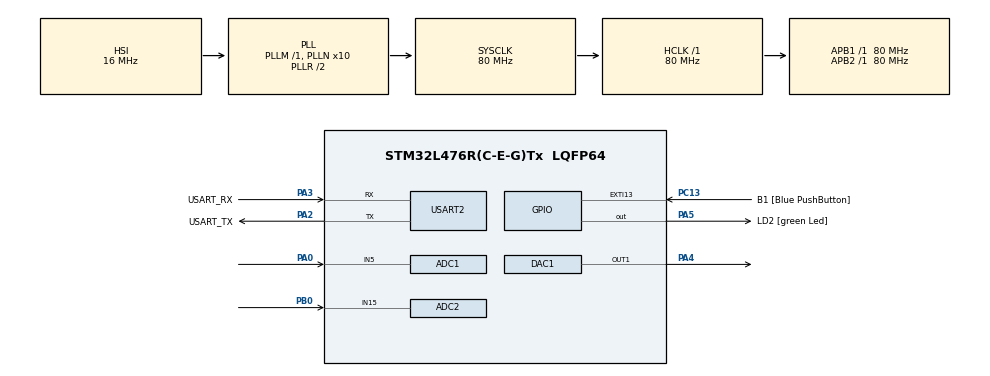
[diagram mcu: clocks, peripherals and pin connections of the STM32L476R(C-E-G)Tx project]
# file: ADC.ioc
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ADC1.Channel-0\#ChannelRegularConversion=ADC_CHANNEL_5
ADC1.NbrOfConversionFlag=1
ADC1.OffsetNumber-0\#ChannelRegularConversion=ADC_OFFSET_NONE
ADC1.Rank-0\#ChannelRegularConversion=1
ADC1.SamplingTime-0\#ChannelRegularConversion=ADC_SAMPLETIME_2CYCLES_5
ADC1.master=1
ADC2.Channel-0\#ChannelRegularConversion=ADC_CHANNEL_15
ADC2.NbrOfConversionFlag=1
ADC2.OffsetNumber-0\#ChannelRegularConversion=ADC_OFFSET_NONE
ADC2.Rank-0\#ChannelRegularConversion=1
ADC2.SamplingTime-0\#ChannelRegularConversion=ADC_SAMPLETIME_2CYCLES_5
Mcu.Family=STM32L4
Mcu.Name=STM32L476R(C-E-G)Tx
Mcu.Package=LQFP64
NVIC.PriorityGroup=NVIC_PRIORITYGROUP_4
PA0.Signal=ADCx_IN5
PA13\ (JTMS-SWDIO).GPIO_Label=TMS
PA13\ (JTMS-SWDIO).Mode=Serial_Wire
PA13\ (JTMS-SWDIO).Signal=SYS_JTMS-SWDIO
PA14\ (JTCK-SWCLK).GPIO_Label=TCK
PA14\ (JTCK-SWCLK).Mode=Serial_Wire
PA14\ (JTCK-SWCLK).Signal=SYS_JTCK-SWCLK
PA2.GPIO_Label=USART_TX
PA2.GPIO_Mode=GPIO_MODE_AF_PP
PA2.GPIO_PuPd=GPIO_NOPULL
PA2.GPIO_Speed=GPIO_SPEED_FREQ_VERY_HIGH
PA2.Mode=Asynchronous
PA2.Signal=USART2_TX
PA3.GPIO_Label=USART_RX
PA3.GPIO_Mode=GPIO_MODE_AF_PP
PA3.GPIO_PuPd=GPIO_NOPULL
PA3.GPIO_Speed=GPIO_SPEED_FREQ_VERY_HIGH
PA3.Mode=Asynchronous
PA3.Signal=USART2_RX
PA4.Signal=COMP_DAC11_group
PA5.GPIO_Label=LD2 [green Led]
PA5.GPIO_ModeDefaultOutputPP=GPIO_MODE_OUTPUT_PP
PA5.GPIO_PuPd=GPIO_NOPULL
PA5.GPIO_Speed=GPIO_SPEED_FREQ_LOW
PA5.Signal=GPIO_Output
PB0.Signal=ADCx_IN15
PB3\ (JTDO-TRACESWO).GPIO_Label=SWO
PB3\ (JTDO-TRACESWO).Signal=SYS_JTDO-SWO
PC13.GPIO_Label=B1 [Blue PushButton]
PC13.GPIO_ModeDefaultEXTI=GPIO_MODE_IT_FALLING
PC13.GPIO_PuPd=GPIO_NOPULL
PC13.Signal=GPXTI13
PC14-OSC32_IN\ (PC14).Mode=LSE-External-Oscillator
PC14-OSC32_IN\ (PC14).Signal=RCC_OSC32_IN
PC15-OSC32_OUT\ (PC15).Mode=LSE-External-Oscillator
PC15-OSC32_OUT\ (PC15).Signal=RCC_OSC32_OUT
PH0-OSC_IN\ (PH0).Signal=RCC_OSC_IN
PH1-OSC_OUT\ (PH1).Signal=RCC_OSC_OUT
ProjectManager.HeapSize=0x200
ProjectManager.StackSize=0x400
ProjectManager.TargetToolchain=SW4STM32
RCC.ADCFreq_Value=64000000
RCC.AHBFreq_Value=80000000
RCC.APB1Freq_Value=80000000
RCC.APB1TimFreq_Value=80000000
RCC.APB2Freq_Value=80000000
RCC.APB2TimFreq_Value=80000000
RCC.CortexFreq_Value=80000000
RCC.HCLKFreq_Value=80000000
RCC.HSE_VALUE=8000000
RCC.HSI_VALUE=16000000
RCC.MSI_VALUE=4000000
RCC.PLLN=10
RCC.PLLSourceVirtual=RCC_PLLSOURCE_HSI
RCC.PREFETCH_ENABLE=1
RCC.SYSCLKFreq_VALUE=80000000
RCC.SYSCLKSource=RCC_SYSCLKSOURCE_PLLCLK
RCC.USBFreq_Value=64000000
RCC.VCOOutputFreq_Value=160000000
SH.ADCx_IN15.0=ADC2_IN15,IN15-Single-Ended
SH.ADCx_IN5.0=ADC1_IN5,IN5-Single-Ended
SH.COMP_DAC11_group.0=DAC1_OUT1,DAC_OUT1
USART2.VirtualMode-Asynchronous=VM_ASYNC
board=NUCLEO-L476RG

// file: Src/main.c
/* USER CODE BEGIN Header */
/**
  ******************************************************************************
  * @file           : main.c
  * @brief          : Main program body
  ******************************************************************************
  * @attention
  *
  * <h2><center>&copy; Copyright (c) 2020 STMicroelectronics.
  * All rights reserved.</center></h2>
  *
  * This software component is licensed by ST under BSD 3-Clause license,
  * the "License"; You may not use this file except in compliance with the
  * License. You may obtain a copy of the License at:
  *                        opensource.org/licenses/BSD-3-Clause
  *
  ******************************************************************************
  */
/* USER CODE END Header */

#include "main.h"

/* USER CODE BEGIN Includes */
#include <stdio.h>
#include <string.h>
/* USER CODE END Includes */

/* USER CODE BEGIN PM */
#define Imax 40
/* USER CODE END PM */

ADC_HandleTypeDef hadc1;
ADC_HandleTypeDef hadc2;

DAC_HandleTypeDef hdac1;

UART_HandleTypeDef huart2;

void SystemClock_Config(void);
static void MX_GPIO_Init(void);
static void MX_ADC1_Init(void);
static void MX_ADC2_Init(void);
static void MX_DAC1_Init(void);
static void MX_USART2_UART_Init(void);

int main(void)
{

  /* MCU Configuration--------------------------------------------------------*/

  /* Reset of all peripherals, Initializes the Flash interface and the Systick. */
  HAL_Init();

  /* USER CODE BEGIN Init */
  char textToWrite[12];
void clearBuffer(){
	for(int i=0; i<12; i++){
		textToWrite[i] = "";
	}

}
  /* USER CODE END Init */

  /* Configure the system clock */
  SystemClock_Config();

  /* Initialize all configured peripherals */
  MX_GPIO_Init();
  MX_ADC1_Init();
  MX_ADC2_Init();
  MX_DAC1_Init();
  MX_USART2_UART_Init();
  /* USER CODE BEGIN 2 */
  uint8_t len;
  uint8_t start=0;
  uint16_t dac_value = 870;//about 0.7V
  uint16_t adc[2];
  HAL_GPIO_WritePin(LD2_GPIO_Port, LD2_Pin, GPIO_PIN_SET);
  /* USER CODE END 2 */

  /* Infinite loop */
  /* USER CODE BEGIN WHILE */
  while (1)
  {
	  //waiting for 'S' to send PC -> MCU at the beginning
	  while(start!=83) HAL_UART_Receive(&huart2,&start,1,HAL_MAX_DELAY);

	  //setting value on DAC and ON LED as visual pointer
	  HAL_GPIO_WritePin(LD2_GPIO_Port, LD2_Pin, GPIO_PIN_RESET);
	  HAL_DAC_Start(&hdac1, DAC_CHANNEL_1);
	  while(1){
	  HAL_DAC_SetValue(&hdac1, DAC1_CHANNEL_1, DAC_ALIGN_12B_R, dac_value);
	  //HAL_Delay(50);

	  //taking samples from ADC
	  HAL_ADC_Start(&hadc1);
	  HAL_ADC_Start(&hadc2);
	  HAL_ADC_PollForConversion(&hadc1,1000);
	  HAL_ADC_PollForConversion(&hadc2,1000);
	  adc[0] = HAL_ADC_GetValue(&hadc1);
	  adc[1] = HAL_ADC_GetValue(&hadc2);

	  //sending data through UART to PC
	  clearBuffer();
	  len = sprintf(textToWrite, "%u\n", adc[0]);
	  HAL_UART_Transmit(&huart2, textToWrite, len,1000);
	  clearBuffer();
	  len = sprintf(textToWrite, "%u\n", adc[1]);
	  HAL_UART_Transmit(&huart2, textToWrite, len,1000);

	  //if diode reach current limit or max DAC value -> stop incrementing DAC
	  if((adc[0] > (Imax*12)) || (dac_value == 4095))break;
	  dac_value++;
	  }
	  //turn off ADC, DAC, setting default variable value
	  HAL_DAC_Stop(&hdac1, DAC_CHANNEL_1);
	  HAL_ADC_Stop(&hadc1);
	  HAL_ADC_Stop(&hadc2);
	  dac_value = 870;
	  start=0;
	  //sending stop to show end of transmission
	  clearBuffer();
	  len = sprintf(textToWrite,"stop");
	  HAL_UART_Transmit(&huart2, textToWrite, len, 1000);
	  HAL_GPIO_WritePin(LD2_GPIO_Port, LD2_Pin, GPIO_PIN_SET);

    /* USER CODE END WHILE */

  }
}

void SystemClock_Config(void)
{
  RCC_OscInitTypeDef RCC_OscInitStruct = {0};
  RCC_ClkInitTypeDef RCC_ClkInitStruct = {0};
  RCC_PeriphCLKInitTypeDef PeriphClkInit = {0};

  /** Initializes the CPU, AHB and APB busses clocks
  */
  RCC_OscInitStruct.OscillatorType = RCC_OSCILLATORTYPE_HSI;
  RCC_OscInitStruct.HSIState = RCC_HSI_ON;
  RCC_OscInitStruct.HSICalibrationValue = RCC_HSICALIBRATION_DEFAULT;
  RCC_OscInitStruct.PLL.PLLState = RCC_PLL_ON;
  RCC_OscInitStruct.PLL.PLLSource = RCC_PLLSOURCE_HSI;
  RCC_OscInitStruct.PLL.PLLM = 1;
  RCC_OscInitStruct.PLL.PLLN = 10;
  RCC_OscInitStruct.PLL.PLLP = RCC_PLLP_DIV7;
  RCC_OscInitStruct.PLL.PLLQ = RCC_PLLQ_DIV2;
  RCC_OscInitStruct.PLL.PLLR = RCC_PLLR_DIV2;
  if (HAL_RCC_OscConfig(&RCC_OscInitStruct) != HAL_OK)
  {
    Error_Handler();
  }
  /** Initializes the CPU, AHB and APB busses clocks
  */
  RCC_ClkInitStruct.ClockType = RCC_CLOCKTYPE_HCLK|RCC_CLOCKTYPE_SYSCLK
                              |RCC_CLOCKTYPE_PCLK1|RCC_CLOCKTYPE_PCLK2;
  RCC_ClkInitStruct.SYSCLKSource = RCC_SYSCLKSOURCE_PLLCLK;
  RCC_ClkInitStruct.AHBCLKDivider = RCC_SYSCLK_DIV1;
  RCC_ClkInitStruct.APB1CLKDivider = RCC_HCLK_DIV1;
  RCC_ClkInitStruct.APB2CLKDivider = RCC_HCLK_DIV1;

  if (HAL_RCC_ClockConfig(&RCC_ClkInitStruct, FLASH_LATENCY_4) != HAL_OK)
  {
    Error_Handler();
  }
  PeriphClkInit.PeriphClockSelection = RCC_PERIPHCLK_USART2|RCC_PERIPHCLK_ADC;
  PeriphClkInit.Usart2ClockSelection = RCC_USART2CLKSOURCE_PCLK1;
  PeriphClkInit.AdcClockSelection = RCC_ADCCLKSOURCE_PLLSAI1;
  PeriphClkInit.PLLSAI1.PLLSAI1Source = RCC_PLLSOURCE_HSI;
  PeriphClkInit.PLLSAI1.PLLSAI1M = 1;
  PeriphClkInit.PLLSAI1.PLLSAI1N = 8;
  PeriphClkInit.PLLSAI1.PLLSAI1P = RCC_PLLP_DIV7;
  PeriphClkInit.PLLSAI1.PLLSAI1Q = RCC_PLLQ_DIV2;
  PeriphClkInit.PLLSAI1.PLLSAI1R = RCC_PLLR_DIV2;
  PeriphClkInit.PLLSAI1.PLLSAI1ClockOut = RCC_PLLSAI1_ADC1CLK;
  if (HAL_RCCEx_PeriphCLKConfig(&PeriphClkInit) != HAL_OK)
  {
    Error_Handler();
  }
  /** Configure the main internal regulator output voltage
  */
  if (HAL_PWREx_ControlVoltageScaling(PWR_REGULATOR_VOLTAGE_SCALE1) != HAL_OK)
  {
    Error_Handler();
  }
}

static void MX_ADC1_Init(void)
{

  ADC_MultiModeTypeDef multimode = {0};
  ADC_ChannelConfTypeDef sConfig = {0};

  /** Common config
  */
  hadc1.Instance = ADC1;
  hadc1.Init.ClockPrescaler = ADC_CLOCK_ASYNC_DIV1;
  hadc1.Init.Resolution = ADC_RESOLUTION_12B;
  hadc1.Init.DataAlign = ADC_DATAALIGN_RIGHT;
  hadc1.Init.ScanConvMode = ADC_SCAN_DISABLE;
  hadc1.Init.EOCSelection = ADC_EOC_SINGLE_CONV;
  hadc1.Init.LowPowerAutoWait = DISABLE;
  hadc1.Init.ContinuousConvMode = DISABLE;
  hadc1.Init.NbrOfConversion = 1;
  hadc1.Init.DiscontinuousConvMode = DISABLE;
  hadc1.Init.ExternalTrigConv = ADC_SOFTWARE_START;
  hadc1.Init.ExternalTrigConvEdge = ADC_EXTERNALTRIGCONVEDGE_NONE;
  hadc1.Init.DMAContinuousRequests = DISABLE;
  hadc1.Init.Overrun = ADC_OVR_DATA_PRESERVED;
  hadc1.Init.OversamplingMode = DISABLE;
  if (HAL_ADC_Init(&hadc1) != HAL_OK)
  {
    Error_Handler();
  }
  /** Configure the ADC multi-mode
  */
  multimode.Mode = ADC_MODE_INDEPENDENT;
  if (HAL_ADCEx_MultiModeConfigChannel(&hadc1, &multimode) != HAL_OK)
  {
    Error_Handler();
  }
  /** Configure Regular Channel
  */
  sConfig.Channel = ADC_CHANNEL_5;
  sConfig.Rank = ADC_REGULAR_RANK_1;
  sConfig.SamplingTime = ADC_SAMPLETIME_2CYCLES_5;
  sConfig.SingleDiff = ADC_SINGLE_ENDED;
  sConfig.OffsetNumber = ADC_OFFSET_NONE;
  sConfig.Offset = 0;
  if (HAL_ADC_ConfigChannel(&hadc1, &sConfig) != HAL_OK)
  {
    Error_Handler();
  }

}

static void MX_ADC2_Init(void)
{

  ADC_ChannelConfTypeDef sConfig = {0};

  /** Common config
  */
  hadc2.Instance = ADC2;
  hadc2.Init.ClockPrescaler = ADC_CLOCK_ASYNC_DIV1;
  hadc2.Init.Resolution = ADC_RESOLUTION_12B;
  hadc2.Init.DataAlign = ADC_DATAALIGN_RIGHT;
  hadc2.Init.ScanConvMode = ADC_SCAN_DISABLE;
  hadc2.Init.EOCSelection = ADC_EOC_SINGLE_CONV;
  hadc2.Init.LowPowerAutoWait = DISABLE;
  hadc2.Init.ContinuousConvMode = DISABLE;
  hadc2.Init.NbrOfConversion = 1;
  hadc2.Init.DiscontinuousConvMode = DISABLE;
  hadc2.Init.ExternalTrigConv = ADC_SOFTWARE_START;
  hadc2.Init.ExternalTrigConvEdge = ADC_EXTERNALTRIGCONVEDGE_NONE;
  hadc2.Init.DMAContinuousRequests = DISABLE;
  hadc2.Init.Overrun = ADC_OVR_DATA_PRESERVED;
  hadc2.Init.OversamplingMode = DISABLE;
  if (HAL_ADC_Init(&hadc2) != HAL_OK)
  {
    Error_Handler();
  }
  /** Configure Regular Channel
  */
  sConfig.Channel = ADC_CHANNEL_15;
  sConfig.Rank = ADC_REGULAR_RANK_1;
  sConfig.SamplingTime = ADC_SAMPLETIME_2CYCLES_5;
  sConfig.SingleDiff = ADC_SINGLE_ENDED;
  sConfig.OffsetNumber = ADC_OFFSET_NONE;
  sConfig.Offset = 0;
  if (HAL_ADC_ConfigChannel(&hadc2, &sConfig) != HAL_OK)
  {
    Error_Handler();
  }

}

static void MX_DAC1_Init(void)
{

  DAC_ChannelConfTypeDef sConfig = {0};

  /** DAC Initialization
  */
  hdac1.Instance = DAC1;
  if (HAL_DAC_Init(&hdac1) != HAL_OK)
  {
    Error_Handler();
  }
  /** DAC channel OUT1 config
  */
  sConfig.DAC_SampleAndHold = DAC_SAMPLEANDHOLD_DISABLE;
  sConfig.DAC_Trigger = DAC_TRIGGER_NONE;
  sConfig.DAC_OutputBuffer = DAC_OUTPUTBUFFER_ENABLE;
  sConfig.DAC_ConnectOnChipPeripheral = DAC_CHIPCONNECT_DISABLE;
  sConfig.DAC_UserTrimming = DAC_TRIMMING_FACTORY;
  if (HAL_DAC_ConfigChannel(&hdac1, &sConfig, DAC_CHANNEL_1) != HAL_OK)
  {
    Error_Handler();
  }

}

static void MX_USART2_UART_Init(void)
{

  huart2.Instance = USART2;
  huart2.Init.BaudRate = 115200;
  huart2.Init.WordLength = UART_WORDLENGTH_8B;
  huart2.Init.StopBits = UART_STOPBITS_1;
  huart2.Init.Parity = UART_PARITY_NONE;
  huart2.Init.Mode = UART_MODE_TX_RX;
  huart2.Init.HwFlowCtl = UART_HWCONTROL_NONE;
  huart2.Init.OverSampling = UART_OVERSAMPLING_16;
  huart2.Init.OneBitSampling = UART_ONE_BIT_SAMPLE_DISABLE;
  huart2.AdvancedInit.AdvFeatureInit = UART_ADVFEATURE_NO_INIT;
  if (HAL_UART_Init(&huart2) != HAL_OK)
  {
    Error_Handler();
  }

}

static void MX_GPIO_Init(void)
{
  GPIO_InitTypeDef GPIO_InitStruct = {0};

  /* GPIO Ports Clock Enable */
  __HAL_RCC_GPIOC_CLK_ENABLE();
  __HAL_RCC_GPIOH_CLK_ENABLE();
  __HAL_RCC_GPIOA_CLK_ENABLE();
  __HAL_RCC_GPIOB_CLK_ENABLE();

  /*Configure GPIO pin Output Level */
  HAL_GPIO_WritePin(LD2_GPIO_Port, LD2_Pin, GPIO_PIN_RESET);

  /*Configure GPIO pin : B1_Pin */
  GPIO_InitStruct.Pin = B1_Pin;
  GPIO_InitStruct.Mode = GPIO_MODE_IT_FALLING;
  GPIO_InitStruct.Pull = GPIO_NOPULL;
  HAL_GPIO_Init(B1_GPIO_Port, &GPIO_InitStruct);

  /*Configure GPIO pin : LD2_Pin */
  GPIO_InitStruct.Pin = LD2_Pin;
  GPIO_InitStruct.Mode = GPIO_MODE_OUTPUT_PP;
  GPIO_InitStruct.Pull = GPIO_NOPULL;
  GPIO_InitStruct.Speed = GPIO_SPEED_FREQ_LOW;
  HAL_GPIO_Init(LD2_GPIO_Port, &GPIO_InitStruct);

}

void Error_Handler(void)
{
}

/************************ (C) COPYRIGHT STMicroelectronics *****END OF FILE****/
